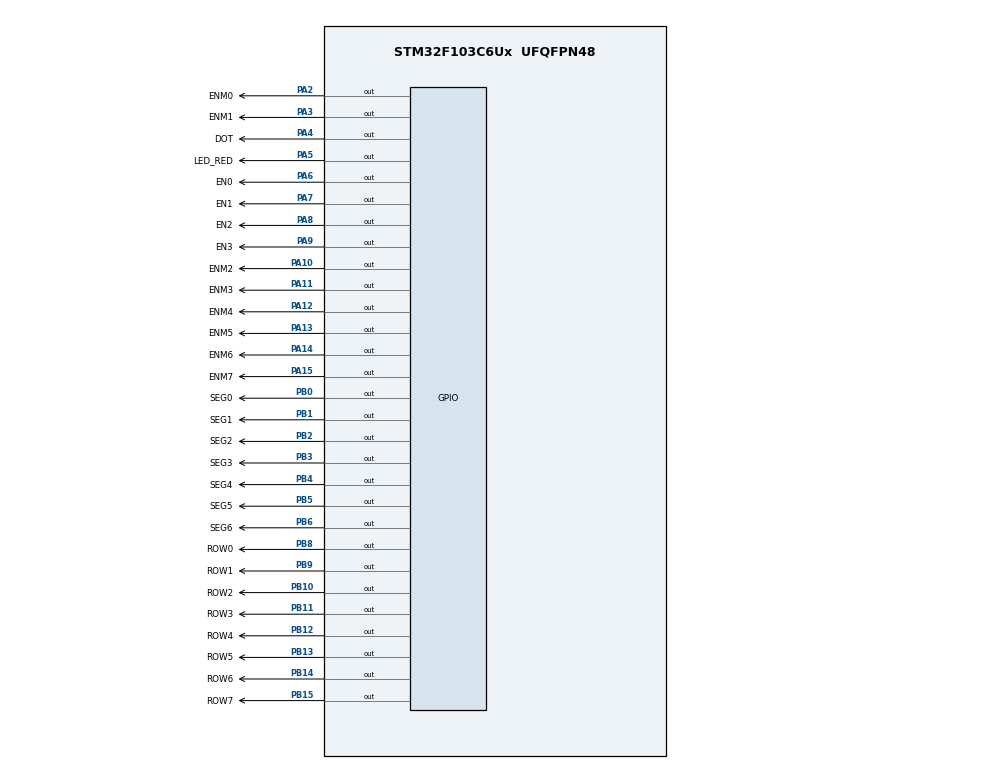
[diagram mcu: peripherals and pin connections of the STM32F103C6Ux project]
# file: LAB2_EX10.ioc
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Mcu.Family=STM32F1
Mcu.Name=STM32F103C6Ux
Mcu.Package=UFQFPN48
NVIC.PriorityGroup=NVIC_PRIORITYGROUP_4
NVIC.TIM2_IRQn=true\:0\:0\:false\:false\:true\:true\:true
PA10.GPIO_Label=ENM2
PA10.Signal=GPIO_Output
PA11.GPIO_Label=ENM3
PA11.Signal=GPIO_Output
PA12.GPIO_Label=ENM4
PA12.Signal=GPIO_Output
PA13.GPIO_Label=ENM5
PA13.Signal=GPIO_Output
PA14.GPIO_Label=ENM6
PA14.Signal=GPIO_Output
PA15.GPIO_Label=ENM7
PA15.Signal=GPIO_Output
PA2.GPIO_Label=ENM0
PA2.Signal=GPIO_Output
PA3.GPIO_Label=ENM1
PA3.Signal=GPIO_Output
PA4.GPIO_Label=DOT
PA4.Signal=GPIO_Output
PA5.GPIO_Label=LED_RED
PA5.Signal=GPIO_Output
PA6.GPIO_Label=EN0
PA6.Signal=GPIO_Output
PA7.GPIO_Label=EN1
PA7.Signal=GPIO_Output
PA8.GPIO_Label=EN2
PA8.Signal=GPIO_Output
PA9.GPIO_Label=EN3
PA9.Signal=GPIO_Output
PB0.GPIO_Label=SEG0
PB0.Signal=GPIO_Output
PB1.GPIO_Label=SEG1
PB1.Signal=GPIO_Output
PB10.GPIO_Label=ROW2
PB10.Signal=GPIO_Output
PB11.GPIO_Label=ROW3
PB11.Signal=GPIO_Output
PB12.GPIO_Label=ROW4
PB12.Signal=GPIO_Output
PB13.GPIO_Label=ROW5
PB13.Signal=GPIO_Output
PB14.GPIO_Label=ROW6
PB14.Signal=GPIO_Output
PB15.GPIO_Label=ROW7
PB15.Signal=GPIO_Output
PB2.GPIO_Label=SEG2
PB2.Signal=GPIO_Output
PB3.GPIO_Label=SEG3
PB3.Signal=GPIO_Output
PB4.GPIO_Label=SEG4
PB4.Signal=GPIO_Output
PB5.GPIO_Label=SEG5
PB5.Signal=GPIO_Output
PB6.GPIO_Label=SEG6
PB6.Signal=GPIO_Output
PB8.GPIO_Label=ROW0
PB8.Signal=GPIO_Output
PB9.GPIO_Label=ROW1
PB9.Signal=GPIO_Output
ProjectManager.HeapSize=0x200
ProjectManager.StackSize=0x400
ProjectManager.TargetToolchain=STM32CubeIDE
RCC.APB1Freq_Value=8000000
RCC.APB2Freq_Value=8000000
TIM2.Period=9
TIM2.Prescaler=7999
VP_SYS_VS_ND.Mode=No_Debug
VP_TIM2_VS_ClockSourceINT.Mode=Internal
board=custom

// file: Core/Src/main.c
/* USER CODE BEGIN Header */
/**
  ******************************************************************************
  * @file           : main.c
  * @brief          : Main program body
  ******************************************************************************
  * @attention
  *
  * <h2><center>&copy; Copyright (c) 2024 STMicroelectronics.
  * All rights reserved.</center></h2>
  *
  * This software component is licensed by ST under BSD 3-Clause license,
  * the "License"; You may not use this file except in compliance with the
  * License. You may obtain a copy of the License at:
  *                        opensource.org/licenses/BSD-3-Clause
  *
  ******************************************************************************
  */
/* USER CODE END Header */
#include "main.h"

/* USER CODE BEGIN Includes */
#include "Ex10.h"
#include "softwareTimer.h"
/* USER CODE END Includes */

TIM_HandleTypeDef htim2;

void SystemClock_Config(void);
static void MX_GPIO_Init(void);
static void MX_TIM2_Init(void);

int main(void)
{

  /* MCU Configuration--------------------------------------------------------*/

  /* Reset of all peripherals, Initializes the Flash interface and the Systick. */
  HAL_Init();

  /* Configure the system clock */
  SystemClock_Config();

  /* Initialize all configured peripherals */
  MX_GPIO_Init();
  MX_TIM2_Init();
  /* USER CODE BEGIN 2 */
  HAL_TIM_Base_Start_IT (& htim2 );
  /* USER CODE END 2 */

  /* Infinite loop */
  /* USER CODE BEGIN WHILE */
//  int index_led_matrix = 0;
  int index_led_matrix = 0;
//  const int MAX_LED_MATRIX = 8;
  setTimer0(1000);
  setTimer1(1000);
  while (1)
  {
    /* USER CODE END WHILE */

    /* USER CODE BEGIN 3 */
	if (timer_flag0 == 1){
		updateLEDMatrix (index_led_matrix++);
		if (index_led_matrix == 8) index_led_matrix = 0;
		setTimer0(100);
	}
	if (timer_flag1 == 1){
//		updateLEDMatrix (index_led_matrix++);
		updateMatrixbuffer();
			setTimer1(1000);
	  	}
  }
  /* USER CODE END 3 */
}

void SystemClock_Config(void)
{
  RCC_OscInitTypeDef RCC_OscInitStruct = {0};
  RCC_ClkInitTypeDef RCC_ClkInitStruct = {0};

  /** Initializes the RCC Oscillators according to the specified parameters
  * in the RCC_OscInitTypeDef structure.
  */
  RCC_OscInitStruct.OscillatorType = RCC_OSCILLATORTYPE_HSI;
  RCC_OscInitStruct.HSIState = RCC_HSI_ON;
  RCC_OscInitStruct.HSICalibrationValue = RCC_HSICALIBRATION_DEFAULT;
  RCC_OscInitStruct.PLL.PLLState = RCC_PLL_NONE;
  if (HAL_RCC_OscConfig(&RCC_OscInitStruct) != HAL_OK)
  {
    Error_Handler();
  }
  /** Initializes the CPU, AHB and APB buses clocks
  */
  RCC_ClkInitStruct.ClockType = RCC_CLOCKTYPE_HCLK|RCC_CLOCKTYPE_SYSCLK
                              |RCC_CLOCKTYPE_PCLK1|RCC_CLOCKTYPE_PCLK2;
  RCC_ClkInitStruct.SYSCLKSource = RCC_SYSCLKSOURCE_HSI;
  RCC_ClkInitStruct.AHBCLKDivider = RCC_SYSCLK_DIV1;
  RCC_ClkInitStruct.APB1CLKDivider = RCC_HCLK_DIV1;
  RCC_ClkInitStruct.APB2CLKDivider = RCC_HCLK_DIV1;

  if (HAL_RCC_ClockConfig(&RCC_ClkInitStruct, FLASH_LATENCY_0) != HAL_OK)
  {
    Error_Handler();
  }
}

static void MX_TIM2_Init(void)
{

  TIM_ClockConfigTypeDef sClockSourceConfig = {0};
  TIM_MasterConfigTypeDef sMasterConfig = {0};

  htim2.Instance = TIM2;
  htim2.Init.Prescaler = 7999;
  htim2.Init.CounterMode = TIM_COUNTERMODE_UP;
  htim2.Init.Period = 9;
  htim2.Init.ClockDivision = TIM_CLOCKDIVISION_DIV1;
  htim2.Init.AutoReloadPreload = TIM_AUTORELOAD_PRELOAD_DISABLE;
  if (HAL_TIM_Base_Init(&htim2) != HAL_OK)
  {
    Error_Handler();
  }
  sClockSourceConfig.ClockSource = TIM_CLOCKSOURCE_INTERNAL;
  if (HAL_TIM_ConfigClockSource(&htim2, &sClockSourceConfig) != HAL_OK)
  {
    Error_Handler();
  }
  sMasterConfig.MasterOutputTrigger = TIM_TRGO_RESET;
  sMasterConfig.MasterSlaveMode = TIM_MASTERSLAVEMODE_DISABLE;
  if (HAL_TIMEx_MasterConfigSynchronization(&htim2, &sMasterConfig) != HAL_OK)
  {
    Error_Handler();
  }

}

static void MX_GPIO_Init(void)
{
  GPIO_InitTypeDef GPIO_InitStruct = {0};

  /* GPIO Ports Clock Enable */
  __HAL_RCC_GPIOA_CLK_ENABLE();
  __HAL_RCC_GPIOB_CLK_ENABLE();

  /*Configure GPIO pin Output Level */
  HAL_GPIO_WritePin(GPIOA, ENM0_Pin|ENM1_Pin|DOT_Pin|LED_RED_Pin
                          |EN0_Pin|EN1_Pin|EN2_Pin|EN3_Pin
                          |ENM2_Pin|ENM3_Pin|ENM4_Pin|ENM5_Pin
                          |ENM6_Pin|ENM7_Pin, GPIO_PIN_RESET);

  /*Configure GPIO pin Output Level */
  HAL_GPIO_WritePin(GPIOB, SEG0_Pin|SEG1_Pin|SEG2_Pin|ROW2_Pin
                          |ROW3_Pin|ROW4_Pin|ROW5_Pin|ROW6_Pin
                          |ROW7_Pin|SEG3_Pin|SEG4_Pin|SEG5_Pin
                          |SEG6_Pin|ROW0_Pin|ROW1_Pin, GPIO_PIN_RESET);

  /*Configure GPIO pins : ENM0_Pin ENM1_Pin DOT_Pin LED_RED_Pin
                           EN0_Pin EN1_Pin EN2_Pin EN3_Pin
                           ENM2_Pin ENM3_Pin ENM4_Pin ENM5_Pin
                           ENM6_Pin ENM7_Pin */
  GPIO_InitStruct.Pin = ENM0_Pin|ENM1_Pin|DOT_Pin|LED_RED_Pin
                          |EN0_Pin|EN1_Pin|EN2_Pin|EN3_Pin
                          |ENM2_Pin|ENM3_Pin|ENM4_Pin|ENM5_Pin
                          |ENM6_Pin|ENM7_Pin;
  GPIO_InitStruct.Mode = GPIO_MODE_OUTPUT_PP;
  GPIO_InitStruct.Pull = GPIO_NOPULL;
  GPIO_InitStruct.Speed = GPIO_SPEED_FREQ_LOW;
  HAL_GPIO_Init(GPIOA, &GPIO_InitStruct);

  /*Configure GPIO pins : SEG0_Pin SEG1_Pin SEG2_Pin ROW2_Pin
                           ROW3_Pin ROW4_Pin ROW5_Pin ROW6_Pin
                           ROW7_Pin SEG3_Pin SEG4_Pin SEG5_Pin
                           SEG6_Pin ROW0_Pin ROW1_Pin */
  GPIO_InitStruct.Pin = SEG0_Pin|SEG1_Pin|SEG2_Pin|ROW2_Pin
                          |ROW3_Pin|ROW4_Pin|ROW5_Pin|ROW6_Pin
                          |ROW7_Pin|SEG3_Pin|SEG4_Pin|SEG5_Pin
                          |SEG6_Pin|ROW0_Pin|ROW1_Pin;
  GPIO_InitStruct.Mode = GPIO_MODE_OUTPUT_PP;
  GPIO_InitStruct.Pull = GPIO_NOPULL;
  GPIO_InitStruct.Speed = GPIO_SPEED_FREQ_LOW;
  HAL_GPIO_Init(GPIOB, &GPIO_InitStruct);

}

/* USER CODE BEGIN 4 */
void HAL_TIM_PeriodElapsedCallback ( TIM_HandleTypeDef * htim ){
	timer_run();
}
/* USER CODE END 4 */

void Error_Handler(void)
{
  __disable_irq();
  while (1)
  {
  }
}

/************************ (C) COPYRIGHT STMicroelectronics *****END OF FILE****/
